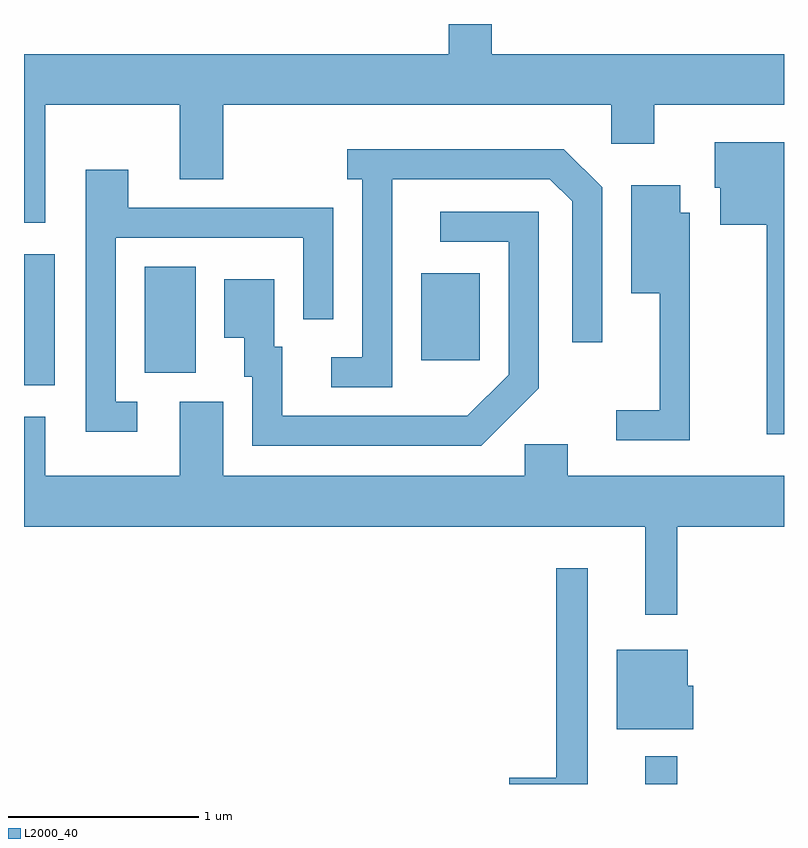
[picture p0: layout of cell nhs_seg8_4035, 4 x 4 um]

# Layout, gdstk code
import gdstk
lib = gdstk.Library(unit=1e-6, precision=1e-09)
def R(c, l, rs):  # rectangles x0, y0, x1, y1
    for r in rs: c.add(gdstk.rectangle(r[:2], r[2:], *l))
def P(c, l, *ps):  # polygons
    for p in ps: c.add(gdstk.Polygon(p, *l))
L2000_40 = (2000, 40)

nhs_seg8_4035 = lib.new_cell('nhs_seg8_4035')
R(nhs_seg8_4035, L2000_40, [(308.881,1888.342,309.049,1888.488), (305.611,1890.441,305.774,1891.129), (306.246,1890.506,306.514,1891.064), (307.701,1890.571,308.009,1891.029), (308.226,1892.341,308.548,1892.342)])
P(nhs_seg8_4035, L2000_40, [(305.724,1891.916),(306.431,1891.916),(306.431,1891.526),(306.659,1891.526),(306.659,1891.916),(308.701,1891.916),(308.701,1891.711),(308.929,1891.711),(308.929,1891.916),(309.611,1891.916),(309.611,1892.184),(308.074,1892.184),(308.074,1892.342),(307.846,1892.342),(307.846,1892.184),(305.611,1892.184),(305.611,1891.296),(305.724,1891.296)],
  [(309.611,1891.719),(309.246,1891.719),(309.246,1891.481),(309.276,1891.481),(309.276,1891.286),(309.521,1891.286),(309.521,1890.183),(309.611,1890.183)],
  [(307.549,1891.526),(308.379,1891.526),(308.496,1891.409),(308.496,1890.668),(308.654,1890.668),(308.654,1891.482),(308.452,1891.684),(307.313,1891.684),(307.313,1891.526),(307.391,1891.526),(307.391,1890.589),(307.228,1890.589),(307.228,1890.431),(307.549,1890.431)],
  [(306.208,1890.354),(306.094,1890.354),(306.094,1891.216),(307.081,1891.216),(307.081,1890.788),(307.239,1890.788),(307.239,1891.374),(306.159,1891.374),(306.159,1891.574),(305.936,1891.574),(305.936,1890.196),(306.208,1890.196)],
  [(309.114,1891.349),(309.064,1891.349),(309.064,1891.494),(308.806,1891.494),(308.806,1890.926),(308.956,1890.926),(308.956,1890.309),(308.728,1890.309),(308.728,1890.151),(309.114,1890.151)],
  [(308.319,1890.424),(308.319,1891.354),(307.803,1891.354),(307.803,1891.196),(308.161,1891.196),(308.161,1890.497),(307.944,1890.279),(306.969,1890.279),(306.969,1890.644),(306.929,1890.644),(306.929,1890.999),(306.666,1890.999),(306.666,1890.691),(306.771,1890.691),(306.771,1890.486),(306.811,1890.486),(306.811,1890.121),(308.017,1890.121)],
  [(309.049,1889.696),(309.611,1889.696),(309.611,1889.964),(308.474,1889.964),(308.474,1890.129),(308.246,1890.129),(308.246,1889.964),(306.659,1889.964),(306.659,1890.354),(306.431,1890.354),(306.431,1889.964),(305.724,1889.964),(305.724,1890.274),(305.611,1890.274),(305.611,1889.696),(308.881,1889.696),(308.881,1889.233),(309.049,1889.233)],
  [(308.579,1889.478),(308.411,1889.478),(308.411,1888.374),(308.166,1888.374),(308.166,1888.342),(308.579,1888.342)],
  [(309.134,1888.859),(309.104,1888.859),(309.104,1889.049),(308.731,1889.049),(308.731,1888.631),(309.134,1888.631)])

lib.write_gds('nhs_seg8_4035.gds')
